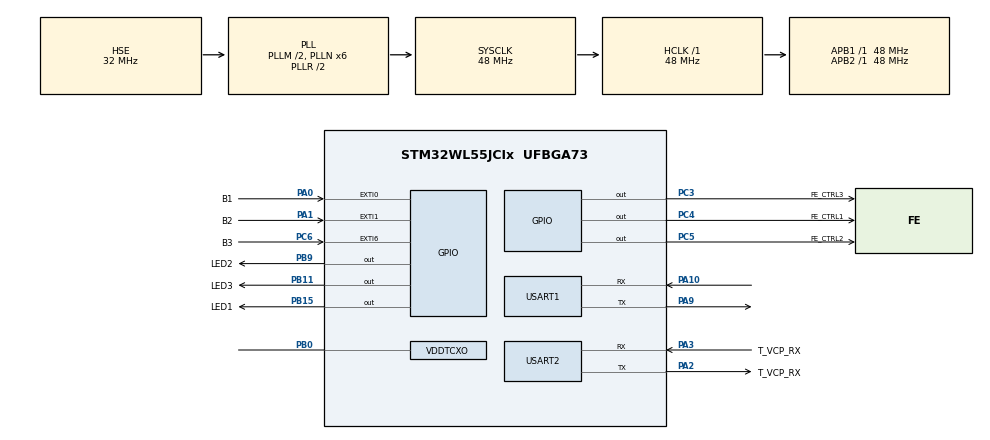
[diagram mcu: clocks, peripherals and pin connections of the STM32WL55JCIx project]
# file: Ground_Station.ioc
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Dma.Request0=USART2_RX
Dma.Request1=USART2_TX
Dma.USART2_RX.0.Channel_PRIV_NPRIV=DMA_CHANNEL_NPRIV_DISABLE
Dma.USART2_RX.0.Direction=DMA_PERIPH_TO_MEMORY
Dma.USART2_RX.0.EventEnable=DISABLE
Dma.USART2_RX.0.Instance=DMA1_Channel1
Dma.USART2_RX.0.MemDataAlignment=DMA_MDATAALIGN_BYTE
Dma.USART2_RX.0.MemInc=DMA_MINC_ENABLE
Dma.USART2_RX.0.Mode=DMA_NORMAL
Dma.USART2_RX.0.PeriphDataAlignment=DMA_PDATAALIGN_BYTE
Dma.USART2_RX.0.PeriphInc=DMA_PINC_DISABLE
Dma.USART2_RX.0.Polarity=HAL_DMAMUX_REQ_GEN_RISING
Dma.USART2_RX.0.Priority=DMA_PRIORITY_LOW
Dma.USART2_RX.0.RequestNumber=1
Dma.USART2_RX.0.SignalID=NONE
Dma.USART2_RX.0.SyncEnable=DISABLE
Dma.USART2_RX.0.SyncPolarity=HAL_DMAMUX_SYNC_NO_EVENT
Dma.USART2_RX.0.SyncRequestNumber=1
Dma.USART2_RX.0.SyncSignalID=NONE
Dma.USART2_TX.1.Channel_PRIV_NPRIV=DMA_CHANNEL_NPRIV_DISABLE
Dma.USART2_TX.1.Direction=DMA_MEMORY_TO_PERIPH
Dma.USART2_TX.1.EventEnable=DISABLE
Dma.USART2_TX.1.Instance=DMA1_Channel2
Dma.USART2_TX.1.MemDataAlignment=DMA_MDATAALIGN_BYTE
Dma.USART2_TX.1.MemInc=DMA_MINC_ENABLE
Dma.USART2_TX.1.Mode=DMA_NORMAL
Dma.USART2_TX.1.PeriphDataAlignment=DMA_PDATAALIGN_BYTE
Dma.USART2_TX.1.PeriphInc=DMA_PINC_DISABLE
Dma.USART2_TX.1.Polarity=HAL_DMAMUX_REQ_GEN_RISING
Dma.USART2_TX.1.Priority=DMA_PRIORITY_LOW
Dma.USART2_TX.1.RequestNumber=1
Dma.USART2_TX.1.SignalID=NONE
Dma.USART2_TX.1.SyncEnable=DISABLE
Dma.USART2_TX.1.SyncPolarity=HAL_DMAMUX_SYNC_NO_EVENT
Dma.USART2_TX.1.SyncRequestNumber=1
Dma.USART2_TX.1.SyncSignalID=NONE
Mcu.Family=STM32WL
Mcu.Name=STM32WL55JCIx
Mcu.Package=UFBGA73
NVIC.DMA1_Channel1_IRQn=true\:0\:0\:false\:false\:true\:false\:true\:true
NVIC.DMA1_Channel2_IRQn=true\:0\:0\:false\:false\:true\:false\:true\:true
NVIC.PriorityGroup=NVIC_PRIORITYGROUP_4
NVIC.SUBGHZ_Radio_IRQn=true\:0\:0\:false\:false\:true\:true\:true\:true
NVIC.TIM2_IRQn=true\:0\:0\:false\:false\:true\:true\:true\:true
NVIC.USART1_IRQn=true\:0\:0\:false\:false\:true\:true\:true\:true
NVIC.USART2_IRQn=true\:0\:0\:false\:false\:true\:true\:true\:true
OSC_IN.Mode=HSE-TCXO
OSC_IN.Signal=RCC_OSC_IN
PA0.GPIO_Label=B1
PA0.GPIO_ModeDefaultEXTI=GPIO_MODE_IT_FALLING
PA0.GPIO_PuPd=GPIO_PULLUP
PA0.Signal=GPXTI0
PA1.GPIO_Label=B2
PA1.GPIO_ModeDefaultEXTI=GPIO_MODE_IT_FALLING
PA1.GPIO_PuPd=GPIO_PULLUP
PA1.Signal=GPXTI1
PA10.Mode=Asynchronous
PA10.Signal=USART1_RX
PA13.Mode=Serial_Wire
PA13.Signal=DEBUG_JTMS-SWDIO
PA14.Mode=Serial_Wire
PA14.Signal=DEBUG_JTCK-SWCLK
PA2.GPIO_Label=T_VCP_RX
PA2.Mode=Asynchronous
PA2.Signal=USART2_TX
PA3.GPIO_Label=T_VCP_RX
PA3.Mode=Asynchronous
PA3.Signal=USART2_RX
PA9.Mode=Asynchronous
PA9.Signal=USART1_TX
PB0-VDD_TCXO.Mode=HSE-TCXO
PB0-VDD_TCXO.Signal=VDDTCXO
PB11.GPIO_Label=LED3
PB11.GPIO_Speed=GPIO_SPEED_FREQ_HIGH
PB11.Signal=GPIO_Output
PB15.GPIO_Label=LED1
PB15.GPIO_Speed=GPIO_SPEED_FREQ_HIGH
PB15.Signal=GPIO_Output
PB9.GPIO_FM9=__NULL
PB9.GPIO_Label=LED2
PB9.GPIO_Speed=GPIO_SPEED_FREQ_HIGH
PB9.Signal=GPIO_Output
PC14-OSC32_IN.Signal=RCC_OSC32_IN
PC15-OSC32_OUT.Signal=RCC_OSC32_OUT
PC3.GPIO_Label=FE_CTRL3
PC3.GPIO_Speed=GPIO_SPEED_FREQ_VERY_HIGH
PC3.Signal=GPIO_Output
PC4.GPIO_Label=FE_CTRL1
PC4.GPIO_Speed=GPIO_SPEED_FREQ_VERY_HIGH
PC4.Signal=GPIO_Output
PC5.GPIO_Label=FE_CTRL2
PC5.GPIO_Speed=GPIO_SPEED_FREQ_VERY_HIGH
PC5.Signal=GPIO_Output
PC6.GPIO_Label=B3
PC6.GPIO_ModeDefaultEXTI=GPIO_MODE_IT_FALLING
PC6.GPIO_PuPd=GPIO_PULLUP
PC6.Signal=GPXTI6
ProjectManager.HeapSize=0x200
ProjectManager.StackSize=0x400
ProjectManager.TargetToolchain=STM32CubeIDE
RCC.AHBFreq_Value=48000000
RCC.APB1Freq_Value=48000000
RCC.APB1TimFreq_Value=48000000
RCC.APB2Freq_Value=48000000
RCC.APB2TimFreq_Value=48000000
RCC.APB3Freq_Value=48000000
RCC.CortexFreq_Value=48000000
RCC.HCLKFreq_Value=48000000
RCC.HSE_VALUE=32000000
RCC.HSI_VALUE=16000000
RCC.LSE_VALUE=32768
RCC.PLLM=RCC_PLLM_DIV2
RCC.PLLN=6
RCC.PLLSourceVirtual=RCC_PLLSOURCE_HSE
RCC.SYSCLKFreq_VALUE=48000000
RCC.SYSCLKSource=RCC_SYSCLKSOURCE_PLLCLK
RCC.VCOOutputFreq_Value=96000000
TIM2.Period=1000001-1
TIM2.Prescaler=48-1
USART1.VirtualMode-Asynchronous=VM_ASYNC
USART2.VirtualMode-Asynchronous=VM_ASYNC
VP_ADV_TRACE_VS_ADV_TRACE.Mode=ADV_TRACE_Enabled
VP_MISC_VS_MISC.Mode=MISC_Enabled
VP_SEQUENCER_M4_VS_SEQUENCER.Mode=SEQUENCER_Enabled
VP_SUBGHZ_PHY_VS_SubGhzPhy.Mode=SubGhzPhy_Enabled
VP_SUBGHZ_VS_SUBGHZ.Mode=SUBGHZ_Activate
VP_TIM2_VS_ClockSourceINT.Mode=Internal
VP_TIMER_VS_TIMER.Mode=TIMER_Enabled
VP_TINY_LPM_VS_TINY_LPM.Mode=TINY_LPM_Enabled
board=NUCLEO-WL55JC2

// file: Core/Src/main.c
/* USER CODE BEGIN Header */
/**
 ******************************************************************************
 * @file           : main.c
 * @brief          : Main program body
 ******************************************************************************
 * @attention
 *
 * Copyright (c) 2024 STMicroelectronics.
 * All rights reserved.
 *
 * This software is licensed under terms that can be found in the LICENSE file
 * in the root directory of this software component.
 * If no LICENSE file comes with this software, it is provided AS-IS.
 *
 ******************************************************************************
 */
/* USER CODE END Header */
#include "main.h"
#include "dma.h"
#include "app_subghz_phy.h"
#include "tim.h"
#include "usart.h"
#include "gpio.h"

/* USER CODE BEGIN Includes */
#include "radio_driver.h"
#include "com_debug.h"
#include "ax25_packet.h"
#include "digipeater_generator.h"
#include "error_handler.h"
/* USER CODE END Includes */

/* USER CODE BEGIN PM */

#define GS_CMD_LENGTH			(20) // source call sign 7, 13 bytes command

#define MAIN_CMD_LENGTH			(13)  //  main 13 bytes command
#define RX_PAYLOAD_LENGTH 		(105) //  maximum data receiving capacity from radio

#define MAIN_CMD_LENGTH_TEMP	(38)  //  main 38 bytes command ASCII

#define CMD_LENGTH_TEMP			(52)  //  main 39 bytes command received from UART2

#define FREQ_435_MHZ            (435313000) //UP-LINK
#define FREQ_437_MHZ			(437375000)	//DOWN-LINK

#define PA_DUTY_CYCLE           (0x07)
#define HP_MAX                  (0x00)
#define PA_SEL                  (0x01)

#define POWER                   (0x0E)
#define RAMP_TIME               (0x02)

#define GFSK_BR_1200            1200
#define GFSK_FDEV_1200          3000

#define GFSK_BR_4800            4800
#define GFSK_FDEV_4800          12000
/* USER CODE END PM */

/* USER CODE BEGIN PV */
PacketParams_t pkt_params;
ModulationParams_t mod_params;

uint8_t gs_cmd_len = GS_CMD_LENGTH;
uint8_t gs_cmd[GS_CMD_LENGTH];

uint8_t cmd_temp_len = CMD_LENGTH_TEMP;
uint8_t cmd_temp[CMD_LENGTH_TEMP];

uint8_t main_cmd_temp_len = MAIN_CMD_LENGTH_TEMP;
uint8_t main_cmd_temp[MAIN_CMD_LENGTH_TEMP];

uint8_t main_cmd_len = MAIN_CMD_LENGTH;
uint8_t main_cmd[MAIN_CMD_LENGTH];

uint8_t temp_tx_buffer[100];
int tx_buffer_len = 0;
uint8_t tx_buffer[100];

uint8_t temp_tx_dp_buffer[150];

uint8_t rx_buffer_len = RX_PAYLOAD_LENGTH;
uint8_t rx_buffer[RX_PAYLOAD_LENGTH];

int TX_FLAG = 0;
int rssi_value = 0;
int checksum_error_count = 0;

/* USER CODE END PV */

void SystemClock_Config(void);
/* USER CODE BEGIN PFP */
void setPacketParams(uint8_t buffer_length);
void setModulationParams(unsigned long bitRate, unsigned long fDev);
void radioConfig(uint8_t *buffer, uint8_t buffer_len);
void DioIrqHndlr(RadioIrqMasks_t radioIrq);
void HAL_UART_RxCpltCallback(UART_HandleTypeDef *huart);
/* USER CODE END PFP */

/* USER CODE BEGIN 0 */

void setPacketParams(uint8_t buffer_length) {
	pkt_params.PacketType = PACKET_TYPE_GFSK;
	pkt_params.Params.Gfsk.PayloadLength = buffer_length;
	pkt_params.Params.Gfsk.PreambleLength = 8;
	pkt_params.Params.Gfsk.PreambleMinDetect = RADIO_PREAMBLE_DETECTOR_08_BITS;
	pkt_params.Params.Gfsk.SyncWordLength = 3 << 3;
	pkt_params.Params.Gfsk.AddrComp = RADIO_ADDRESSCOMP_FILT_OFF;
	pkt_params.Params.Gfsk.HeaderType = RADIO_PACKET_FIXED_LENGTH;
	pkt_params.Params.Gfsk.CrcLength = RADIO_CRC_2_BYTES_CCIT;
	pkt_params.Params.Gfsk.DcFree = RADIO_DC_FREEWHITENING;
	SUBGRF_SetPacketParams(&pkt_params);

}
void setModulationParams(unsigned long bitRate, unsigned long fDev) {
	mod_params.PacketType = PACKET_TYPE_GFSK;
	mod_params.Params.Gfsk.Bandwidth = RX_BW_29300;
	mod_params.Params.Gfsk.BitRate = bitRate;
	mod_params.Params.Gfsk.Fdev = fDev;
	mod_params.Params.Gfsk.ModulationShaping = MOD_SHAPING_G_BT_1;
	SUBGRF_SetModulationParams(&mod_params);

}

void radioConfig(uint8_t *buffer, uint8_t buffer_len) {
	SUBGRF_SetBufferBaseAddress(0x00, 0x00);
	SUBGRF_SetPayload(buffer, buffer_len);
	SUBGRF_SetSyncWord(( uint8_t[] ) { 0xC1, 0x94, 0xC1, 0x00, 0x00, 0x00, 0x00,
					0x00 });
	SUBGRF_SetWhiteningSeed(0x01FF);
	SUBGRF_SetPaConfig(PA_DUTY_CYCLE, HP_MAX, PA_SEL, 0x01);
	SUBGRF_SetTxParams(RFO_LP, POWER, RAMP_TIME);

}

void HAL_UART_RxCpltCallback(UART_HandleTypeDef *huart) {
	if (huart == &huart2) {

		uint8_t newLine = 0x0a;

		uint8_t header = 0x00;

		if (cmd_temp[0] == header || cmd_temp[0] == newLine) {

			for (int loop1 = 0; loop1 < sizeof(cmd_temp); loop1++) {
				cmd_temp[loop1] = cmd_temp[loop1 + 1];
			}
		}

		if (cmd_temp[0] == 0x4d && cmd_temp[1] == 0x4f &&     	//MO
				cmd_temp[2] == 0x44 && cmd_temp[3] == 0x45 &&  	// DE
				cmd_temp[4] == 0x54 && cmd_temp[5] == 0x45 &&  	 //TE
				cmd_temp[6] == 0x4c && cmd_temp[7] == 0x45) {			//LE

			TX_FLAG = 0;

			setPacketParams(rx_buffer_len);
			setModulationParams(GFSK_BR_4800, GFSK_FDEV_4800);
			radioConfig(rx_buffer, rx_buffer_len);

			myDebug("\n########## RX Configuration: ##########\n");

			myDebug("FREQUENCY MODS: Downlink FREQ: %lu Hz\r\n", FREQ_437_MHZ);
			myDebug("Bit Rate: 	%d\n\r", mod_params.Params.Gfsk.BitRate);
			myDebug("Frequency Deviation: 	%d\n\r",
					mod_params.Params.Gfsk.Fdev);
			myDebug("RECEVING BANDWIDTH: 	%d\n\r",
					mod_params.Params.Gfsk.Bandwidth);
			myDebug("Packet Type 			%d\n\r", pkt_params.PacketType);
			myDebug("PayloadLength 			%d\n\r",
					pkt_params.Params.Gfsk.PayloadLength);
			myDebug("PreambleLength 		%d\n\r",
					pkt_params.Params.Gfsk.PreambleLength);
			myDebug("PreambleMinDetect		%d\n\r",
					pkt_params.Params.Gfsk.PreambleMinDetect);
			myDebug("HeaderType 			%d\n\r", pkt_params.Params.Gfsk.HeaderType);
			myDebug("______________*******************______________\r\n");

			SUBGRF_SetRfFrequency(FREQ_437_MHZ);
			SUBGRF_SetSwitch(RFO_LP, RFSWITCH_RX);
			SUBGRF_SetRxBoosted(0xFFFFFF);

			HAL_UART_Receive_DMA(&huart2, cmd_temp, cmd_temp_len);

		} else if (cmd_temp[0] == 0x4d && cmd_temp[1] == 0x4f &&     //MO
				cmd_temp[2] == 0x44 && cmd_temp[3] == 0x45 &&  	// DE
				cmd_temp[4] == 0x44 && cmd_temp[5] == 0x49 &&   //DI
				cmd_temp[6] == 0x47 && cmd_temp[7] == 0x49) {		//GI

			TX_FLAG = 0;

			setPacketParams(rx_buffer_len);
			setModulationParams(GFSK_BR_1200, GFSK_FDEV_1200);
			radioConfig(rx_buffer, rx_buffer_len);

			myDebug("\n########## RX Configuration: ##########\n");

			myDebug("FREQUENCY MODS: Downlink FREQ: %lu Hz\r\n", FREQ_437_MHZ);
			myDebug("Bit Rate: 	%d\n\r", mod_params.Params.Gfsk.BitRate);
			myDebug("Frequency Deviation: 	%d\n\r",
					mod_params.Params.Gfsk.Fdev);
			myDebug("RECEVING BANDWIDTH: 	%d\n\r",
					mod_params.Params.Gfsk.Bandwidth);
			myDebug("Packet Type 			%d\n\r", pkt_params.PacketType);
			myDebug("PayloadLength 			%d\n\r",
					pkt_params.Params.Gfsk.PayloadLength);
			myDebug("PreambleLength 		%d\n\r",
					pkt_params.Params.Gfsk.PreambleLength);
			myDebug("PreambleMinDetect		%d\n\r",
					pkt_params.Params.Gfsk.PreambleMinDetect);
			myDebug("HeaderType 			%d\n\r", pkt_params.Params.Gfsk.HeaderType);
			myDebug("______________*******************______________\r\n");

			SUBGRF_SetRfFrequency(FREQ_437_MHZ);
			SUBGRF_SetSwitch(RFO_LP, RFSWITCH_RX);
			SUBGRF_SetRxBoosted(0xFFFFFF);

			HAL_UART_Receive_DMA(&huart2, cmd_temp, cmd_temp_len);

		} else if (cmd_temp[0] == 0x53 && cmd_temp[1] == 0x32
				&& cmd_temp[2] == 0x53) {								 //S2S

			TX_FLAG = 0;

			// Section 1: dp_head (first 3 bytes)
			unsigned char dp_head[4];
			strncpy((char*) dp_head, (char*) cmd_temp, 3);
			dp_head[3] = '\0'; // Null-terminate the string

			// Section 2: destination_callsign (from byte 4 to the byte before '>' or 0x3e)
			unsigned char *dest_end = (unsigned char*) strchr(
					(char*) cmd_temp + 3, 0x3e); // Find the '>' (0x3e)
			int dest_size = dest_end - (cmd_temp + 3); // Get the size excluding '>'
			// Ensure the destination_callsign is exactly 7 bytes
			unsigned char destination_callsign[8]; // Array size of 8 to include 7 bytes plus null terminator
			// Copy the actual destination_callsign data
			strncpy((char*) destination_callsign, (char*) cmd_temp + 3,
					dest_size);
			// Shift each element of destination_callsign by 1 bit to the left
			for (int i = 0; i < dest_size; i++) {
				destination_callsign[i] <<= 1;  // Perform left shift by 1 bit
			}
			// If dest_size is less than 7, pad with 0x40 until it reaches 6 bytes, then set the last byte to 0xe0
			if (dest_size < 7) {
				for (int i = dest_size; i < 7; i++) {
					destination_callsign[i] = 0x40;  // Padding with 0x40
				}
				destination_callsign[6] = 0xE0;  // Set the last byte to 0xe0
			}
			destination_callsign[7] = '\0'; // Null-terminate (not strictly necessary for binary data, but good practice)

			// Section 3: source_callsign (from '>' to the byte before ',' or 0x2C)
			unsigned char *src_start = dest_end + 1; // Start after '>'
			unsigned char *src_end = (unsigned char*) strchr((char*) src_start,
					0x2C); // Find the ',' (0x2c)
			int src_size = src_end - src_start; // Get the size
			// Ensure the source_callsign is exactly 7 bytes
			unsigned char source_callsign[8]; // Array size of 8 to include 7 bytes plus null terminator
			// Copy the actual source_callsign data
			strncpy((char*) source_callsign, (const char*) src_start, src_size);
			// Shift each element of source_callsign by 1 bit to the left
			for (int i = 0; i < src_size; i++) {
				source_callsign[i] <<= 1;  // Perform left shift by 1 bit
			}
			// If src_size is less than 7, pad with 0x40 until it reaches 6 bytes, then set the last byte to 0xe0
			if (src_size < 7) {
				for (int i = src_size; i < 7; i++) {
					source_callsign[i] = 0x40;  // Padding with 0x40
				}
				source_callsign[6] = 0xE0;  // Set the last byte to 0xe0
			}
			source_callsign[7] = '\0'; // Null-terminate (optional for binary data)

			// Section 4: packet_path (from ',' to the byte before ':' or 0x3A)
			unsigned char *path_start = src_end + 1; // Start after ','
			unsigned char *path_end = (unsigned char*) strchr(
					(char*) path_start, 0x3A); // Find the ':' (0x3a)
			int path_size = path_end - path_start; // Get the size
			unsigned char packet_path[path_size + 1];
			strncpy((char*) packet_path, (const char*) path_start, path_size);
			packet_path[path_size] = '\0'; // Null-terminate

			// Section 5: message_field (from ':' to before '20 37 65')
			unsigned char *msg_start = path_end + 1; // Start after ':'
			unsigned char *msg_end = (unsigned char*) strstr((char*) msg_start,
					"\x20\x37\x65"); // Find '20 37 65'
			int msg_size = msg_end - msg_start; // Get the size before '20 37 65'
			unsigned char message_field[msg_size + 1];
			strncpy((char*) message_field, (const char*) msg_start, msg_size);
			message_field[msg_size] = '\0'; // Null-terminate

			// Combine all sections into one array
			int total_size = 3 + 7 + 7 + 7 + msg_size; // Calculate total size
			uint8_t final_packet[total_size + 1]; // Add 1 for null termination (if needed for debug)
			int offset = 0;

			// Copy Section 1: dp_head
			memcpy(final_packet + offset, dp_head, 3);
			offset += 3;

			// Copy Section 2: destination_callsign
			memcpy(final_packet + offset, destination_callsign, 7);
			offset += 7;

			// Copy Section 3: source_callsign
			memcpy(final_packet + offset, source_callsign, 7);
			offset += 7;

			// Copy Section 4: packet_path
			memcpy(final_packet + offset, packet_path, 7);
			offset += 7;

			// Copy Section 5: message_field
			memcpy(final_packet + offset, message_field, msg_size);
			offset += msg_size;

			final_packet[total_size] = '\0'; // Null-terminate for safety (optional for binary data)

			// Print the entire final packet in hex format
			myDebug("Digipeater Packet receive from DP-Station:\n");
			for (int i = 0; i < total_size; i++) {
				myDebug("%02x ", final_packet[i]);
			}
			myDebug("\n");

			getDigipeaterPacket(final_packet, msg_size);

			tx_buffer_len = countsDataBetweenFlags(temp_tx_dp_buffer,
					sizeof(temp_tx_dp_buffer));

			memset(tx_buffer, '\0', tx_buffer_len);

//			myDebug("Digipeater Packet complete, ready to TX: 0x%x\r\n",
//					temp_tx_dp_buffer);
			for (int j = 0; j < tx_buffer_len; j++) {
				tx_buffer[j] = temp_tx_dp_buffer[j];
//				myDebug("%02x ", tx_buffer[j]);
			}
//			myDebug("\r\n");
//			myDebug("size of tx_buffer = %d\r\n", tx_buffer_len);

			memset(cmd_temp, '\0', sizeof(cmd_temp));
			memset(temp_tx_dp_buffer, '\0', sizeof(temp_tx_dp_buffer));

			delay_us(500000);

			setPacketParams(tx_buffer_len);
			setModulationParams(GFSK_BR_1200,
			GFSK_FDEV_1200);
			radioConfig(tx_buffer, tx_buffer_len);

			myDebug("\n########## Digipeater TX Configuration: ##########\n");

			myDebug("FREQUENCY MODS: DOWNLINK FREQ: %lu Hz\r\n",
			FREQ_437_MHZ);
			myDebug("Bit Rate: 	%d\n\r", mod_params.Params.Gfsk.BitRate);
			myDebug("Frequency Deviation: 	%d\n\r",
					mod_params.Params.Gfsk.Fdev);
			myDebug("RECEVING BANDWIDTH: 	%d\n\r",
					mod_params.Params.Gfsk.Bandwidth);
			myDebug("Packet Type 			%d\n\r", pkt_params.PacketType);
			myDebug("PayloadLength 			%d\n\r",
					pkt_params.Params.Gfsk.PayloadLength);
			myDebug("PreambleLength 		%d\n\r",
					pkt_params.Params.Gfsk.PreambleLength);
			myDebug("PreambleMinDetect		%d\n\r",
					pkt_params.Params.Gfsk.PreambleMinDetect);
			myDebug("HeaderType 			%d\n\r", pkt_params.Params.Gfsk.HeaderType);
			myDebug("__________*******************__________\r\n");

			SUBGRF_SetRfFrequency(FREQ_437_MHZ);
			SUBGRF_SetSwitch(RFO_LP, RFSWITCH_TX);
			SUBGRF_SendPayload(tx_buffer, tx_buffer_len, 0);

		} else {

			uint8_t source_call_sign_temp[13];
			int a = 0;
			for (int loop2 = 39; loop2 < 52; loop2++) {
				source_call_sign_temp[a] = cmd_temp[loop2];
//				myDebug("%02x ", source_call_sign_temp[a]);
				a++;
			}
//			myDebug("\r\n");

			int source_call_sign_len_temp = countsDataBeforeFirstSpace(
					source_call_sign_temp, sizeof(source_call_sign_temp));

			int source_call_sign_len = source_call_sign_len_temp;

//			myDebug("length of call sign %d\n", source_call_sign_len_temp);

			for (int j = 0; j < source_call_sign_len_temp; j++) {
				// Check if the current element is 0x2D
				if (source_call_sign_temp[j] == 0x2D) {
					--source_call_sign_len;
					continue; // Skip this element
				}
			}

			uint8_t source_call_sign[source_call_sign_len];

			int l = 0; // Index for source_call_sign array

			for (int j = 0; j < source_call_sign_len_temp; j++) {
				// Check if the current element is 0x2D
				if (source_call_sign_temp[j] == 0x2D) {
					continue; // Skip this element
				}

				// Copy the next valid element to source_call_sign[k]
				source_call_sign[l] = source_call_sign_temp[j] << 1;

//				myDebug("%02x ", source_call_sign[l]);

				l++;
			}
//			myDebug("\n");

			for (int loop2 = 0; loop2 < sizeof(main_cmd_temp); loop2++) {
				main_cmd_temp[loop2] = cmd_temp[loop2];
//				myDebug("%02x ", main_cmd_temp[loop2]);
			}

			int input_length = sizeof(main_cmd_temp) / sizeof(main_cmd_temp[0]);

			// Temporary array to store non-space characters
			uint8_t temp_chars[input_length];
			int temp_count = 0;

			// Filter out space characters (ASCII 0x20)
			for (int i = 0; i < input_length; i++) {
				if (main_cmd_temp[i] != 0x20) {
					temp_chars[temp_count++] = main_cmd_temp[i];
				}
			}

			// Calculate the number of bytes
			int byte_count = temp_count / 2;

			// Output byte array
			uint8_t byte_array[byte_count];

			// Convert pairs of characters to bytes
			for (int i = 0; i < byte_count; i++) {
				uint8_t high_nibble = acciiToHex(temp_chars[2 * i]);
				uint8_t low_nibble = acciiToHex(temp_chars[2 * i + 1]);

				byte_array[i] = (high_nibble << 4) | low_nibble;
			}

			myDebug("\n-->Main command Received: 0x%x\r\n", main_cmd);

			if (sizeof(byte_array) == main_cmd_len) {
				//			myDebug("-->Command ACK: 0x%x\r\n", main_cmd);
				for (int i = 0; i < main_cmd_len; i++) {
					main_cmd[i] = byte_array[i];
//					myDebug("%02x ", main_cmd[i]);
				}
//				myDebug("\r\n");

				int k = 0;
				for (int i = 0; i < main_cmd_len; i++) {
					gs_cmd[k] = main_cmd[i];
					myDebug("%02x ", gs_cmd[k]);
					k++;
				}
				myDebug("\n");

				for (int i = 0; i < source_call_sign_len; i++) {
					gs_cmd[k] = source_call_sign[i];
					myDebug("%02x ", gs_cmd[k]);
					k++;
				}
				myDebug("\n");

				// Check if k is less than 20, and fill remaining bytes
				if (k < 20) {
					// Fill the remaining bytes with 0x40
					for (int i = k; i < 19; i++) {
						gs_cmd[i] = 0x40;
					}

					// Set the last byte to 0x61
					gs_cmd[19] = 0x61;
				}

//				for (int i = 0; i < gs_cmd_len; i++) {
//					myDebug("%02x ", gs_cmd[i]);
//				}
//				myDebug("\r\n");

				TX_FLAG = 1;

			} else {
				myDebug("-->Command Not ACK: 0x%x\r\n", main_cmd);

				for (int i = 0; i < main_cmd_len; i++) {
					myDebug("%02x ", main_cmd[i]);
				}
				myDebug("\r\n");

				memset(main_cmd, '\0', main_cmd_len);
				TX_FLAG = 0;
			}
		}

	}
}

/* USER CODE END 0 */

int main(void) {

	/* MCU Configuration--------------------------------------------------------*/

	/* Reset of all peripherals, Initializes the Flash interface and the Systick. */
	HAL_Init();

	/* Configure the system clock */
	SystemClock_Config();

	/* Initialize all configured peripherals */
	MX_GPIO_Init();
	MX_DMA_Init();
	MX_USART2_UART_Init();
	MX_TIM2_Init();
	MX_SubGHz_Phy_Init();
	MX_USART1_UART_Init();
	/* USER CODE BEGIN 2 */

	HAL_TIM_Base_Start(&htim2);

	SUBGRF_Init(DioIrqHndlr);
	SUBGRF_SetDioIrqParams(
			IRQ_TX_DONE | IRQ_PREAMBLE_DETECTED | IRQ_RX_DONE
					| IRQ_RX_TX_TIMEOUT | IRQ_SYNCWORD_VALID,
			IRQ_TX_DONE | IRQ_PREAMBLE_DETECTED | IRQ_RX_DONE
					| IRQ_RX_TX_TIMEOUT | IRQ_SYNCWORD_VALID, IRQ_RADIO_NONE,
			IRQ_RADIO_NONE);

	myDebug("########## Slippers2Sat Ground Station: BEGIN ##########\r\n");
	myDebug("########## COMMUNICATION PARAMETERS ##########\r\n");
	myDebug("Modulation: GFSK PACKET\r\n");
	myDebug("FREQUENCY MODES: DOWNLINK FREQ: %luHz, UPLINK FREQ: %lu Hz\r\n",
	FREQ_437_MHZ, FREQ_435_MHZ);
	myDebug("STM32 BSP_SubGHz-WL Radio: Low Power\n");
	myDebug(
			"POWER CONFIG:::: \n"
					"\t PA_DUTY_CYCLE: %x, HP_MAX: %x, PA_SEL: %x, POWER TX: %u dBm\r\n",
			PA_DUTY_CYCLE, HP_MAX, PA_SEL, POWER);

	myDebug(
			"\n########## Operation Starts, Perform any one operation: ##########\r\n");
	myDebug("1. Transmit Command of 13 bytes\r\n");
	myDebug("2. Wait to receive beacon from Satellite\r\n");

	setPacketParams(rx_buffer_len);
	setModulationParams(GFSK_BR_4800, GFSK_FDEV_4800);
	radioConfig(rx_buffer, rx_buffer_len);

	myDebug("\n########## RX Configuration: ##########\n");

	myDebug("FREQUENCY MODS: Downlink FREQ: %lu Hz\r\n", FREQ_437_MHZ);
	myDebug("Bit Rate: 	%d\n\r", mod_params.Params.Gfsk.BitRate);
	myDebug("Frequency Deviation: 	%d\n\r", mod_params.Params.Gfsk.Fdev);
	myDebug("RECEVING BANDWIDTH: 	%d\n\r", mod_params.Params.Gfsk.Bandwidth);
	myDebug("Packet Type 			%d\n\r", pkt_params.PacketType);
	myDebug("PayloadLength 			%d\n\r", pkt_params.Params.Gfsk.PayloadLength);
	myDebug("PreambleLength 		%d\n\r", pkt_params.Params.Gfsk.PreambleLength);
	myDebug("PreambleMinDetect		%d\n\r",
			pkt_params.Params.Gfsk.PreambleMinDetect);
	myDebug("HeaderType 			%d\n\r", pkt_params.Params.Gfsk.HeaderType);
	myDebug("______________*******************______________\r\n");

	SUBGRF_SetRfFrequency(FREQ_437_MHZ);
	SUBGRF_SetSwitch(RFO_LP, RFSWITCH_RX);
	SUBGRF_SetRxBoosted(0xFFFFFF);

	HAL_UART_Receive_DMA(&huart2, cmd_temp, cmd_temp_len);

	/* USER CODE END 2 */

	/* Infinite loop */
	while (1) {
		MX_SubGHz_Phy_Process();

		/* USER CODE BEGIN 3 */

		delay_us(500000);

		if (TX_FLAG) {

			getAX25Packet(gs_cmd, gs_cmd_len);

			tx_buffer_len = countsDataFromLastFlag(temp_tx_buffer,
					sizeof(temp_tx_buffer));

//			myDebug("AX.25 complete GS packet ready to TX: 0x%x\r\n", temp_tx_buffer);
			for (int j = 0; j < tx_buffer_len; j++) {
				tx_buffer[j] = temp_tx_buffer[j];
//				myDebug("%02x ", tx_buffer[j]);
			}
//			myDebug("\r\n");

//			myDebug("size of tx_buffer = %d\r\n", tx_buffer_len);

			memset(main_cmd, '\0', main_cmd_len);
			memset(gs_cmd, '\0', gs_cmd_len);
			memset(temp_tx_buffer, '\0', sizeof(temp_tx_buffer));

			setPacketParams(tx_buffer_len);
			setModulationParams(GFSK_BR_1200, GFSK_FDEV_1200);
			radioConfig(tx_buffer, tx_buffer_len);

			myDebug("########## TX Configuration: ##########\n");

			myDebug("FREQUENCY MODS: UPLINK FREQ: %lu Hz\r\n", FREQ_435_MHZ);
			myDebug("Bit Rate: 	%d\n\r", mod_params.Params.Gfsk.BitRate);
			myDebug("Frequency Deviation: 	%d\n\r",
					mod_params.Params.Gfsk.Fdev);
			myDebug("RECEVING BANDWIDTH: 	%d\n\r",
					mod_params.Params.Gfsk.Bandwidth);
			myDebug("Packet Type 			%d\n\r", pkt_params.PacketType);
			myDebug("PayloadLength 			%d\n\r",
					pkt_params.Params.Gfsk.PayloadLength);
			myDebug("PreambleLength 		%d\n\r",
					pkt_params.Params.Gfsk.PreambleLength);
			myDebug("PreambleMinDetect		%d\n\r",
					pkt_params.Params.Gfsk.PreambleMinDetect);
			myDebug("HeaderType 			%d\n\r", pkt_params.Params.Gfsk.HeaderType);
			myDebug("______________*******************______________\r\n");

			SUBGRF_SetRfFrequency(FREQ_435_MHZ);
			SUBGRF_SetSwitch(RFO_LP, RFSWITCH_TX);
			SUBGRF_SendPayload(tx_buffer, tx_buffer_len, 0);
		}

		HAL_UART_Receive_DMA(&huart2, cmd_temp, cmd_temp_len);

	}
	/* USER CODE END 3 */
}

void SystemClock_Config(void) {
	RCC_OscInitTypeDef RCC_OscInitStruct = { 0 };
	RCC_ClkInitTypeDef RCC_ClkInitStruct = { 0 };

	/** Configure the main internal regulator output voltage
	 */
	__HAL_PWR_VOLTAGESCALING_CONFIG(PWR_REGULATOR_VOLTAGE_SCALE1);

	/** Initializes the CPU, AHB and APB buses clocks
	 */
	RCC_OscInitStruct.OscillatorType = RCC_OSCILLATORTYPE_HSE;
	RCC_OscInitStruct.HSEState = RCC_HSE_BYPASS_PWR;
	RCC_OscInitStruct.HSEDiv = RCC_HSE_DIV1;
	RCC_OscInitStruct.PLL.PLLState = RCC_PLL_ON;
	RCC_OscInitStruct.PLL.PLLSource = RCC_PLLSOURCE_HSE;
	RCC_OscInitStruct.PLL.PLLM = RCC_PLLM_DIV2;
	RCC_OscInitStruct.PLL.PLLN = 6;
	RCC_OscInitStruct.PLL.PLLP = RCC_PLLP_DIV2;
	RCC_OscInitStruct.PLL.PLLR = RCC_PLLR_DIV2;
	RCC_OscInitStruct.PLL.PLLQ = RCC_PLLQ_DIV2;
	if (HAL_RCC_OscConfig(&RCC_OscInitStruct) != HAL_OK) {
		Error_Handler();
	}

	/** Configure the SYSCLKSource, HCLK, PCLK1 and PCLK2 clocks dividers
	 */
	RCC_ClkInitStruct.ClockType = RCC_CLOCKTYPE_HCLK3 | RCC_CLOCKTYPE_HCLK
			| RCC_CLOCKTYPE_SYSCLK | RCC_CLOCKTYPE_PCLK1 | RCC_CLOCKTYPE_PCLK2;
	RCC_ClkInitStruct.SYSCLKSource = RCC_SYSCLKSOURCE_PLLCLK;
	RCC_ClkInitStruct.AHBCLKDivider = RCC_SYSCLK_DIV1;
	RCC_ClkInitStruct.APB1CLKDivider = RCC_HCLK_DIV1;
	RCC_ClkInitStruct.APB2CLKDivider = RCC_HCLK_DIV1;
	RCC_ClkInitStruct.AHBCLK3Divider = RCC_SYSCLK_DIV1;

	if (HAL_RCC_ClockConfig(&RCC_ClkInitStruct, FLASH_LATENCY_2) != HAL_OK) {
		Error_Handler();
	}
}

/* USER CODE BEGIN 4 */
void DioIrqHndlr(RadioIrqMasks_t radioIrq) {
	if (radioIrq == IRQ_TX_DONE) {
		TX_FLAG = 0;
		myDebug("\nGS Command Transmitted Successful, Length: %d\r\n",
				tx_buffer_len);
		for (int i = 0; i < tx_buffer_len; i++) {
			myDebug("%02x ", tx_buffer[i]);
		}

		myDebug("\r\n");
		memset(tx_buffer, '\0', sizeof(tx_buffer));

		setPacketParams(rx_buffer_len);
		setModulationParams(GFSK_BR_4800, GFSK_FDEV_4800);
		radioConfig(rx_buffer, rx_buffer_len);

		myDebug("\n########## RX Configuration: ##########\n");

		myDebug("FREQUENCY MODS: Downlink FREQ: %lu Hz\r\n", FREQ_437_MHZ);
		myDebug("Bit Rate: 	%d\n\r", mod_params.Params.Gfsk.BitRate);
		myDebug("Frequency Deviation: 	%d\n\r", mod_params.Params.Gfsk.Fdev);
		myDebug("RECEVING BANDWIDTH: 	%d\n\r",
				mod_params.Params.Gfsk.Bandwidth);
		myDebug("Packet Type 			%d\n\r", pkt_params.PacketType);
		myDebug("PayloadLength 			%d\n\r",
				pkt_params.Params.Gfsk.PayloadLength);
		myDebug("PreambleLength 		%d\n\r",
				pkt_params.Params.Gfsk.PreambleLength);
		myDebug("PreambleMinDetect		%d\n\r",
				pkt_params.Params.Gfsk.PreambleMinDetect);
		myDebug("HeaderType 			%d\n\r", pkt_params.Params.Gfsk.HeaderType);
		myDebug("______________*******************______________\r\n");

		SUBGRF_SetRfFrequency(FREQ_437_MHZ);
		SUBGRF_SetSwitch(RFO_LP, RFSWITCH_RX);
		SUBGRF_SetRxBoosted(0xFFFFFF);

		HAL_UART_Receive_DMA(&huart2, cmd_temp, cmd_temp_len);

	}

	if (radioIrq == IRQ_RX_DONE) {
		TX_FLAG = 0;
		memset(rx_buffer, '\0', sizeof(rx_buffer));
		SUBGRF_GetPayload(rx_buffer, &rx_buffer_len, RX_PAYLOAD_LENGTH);
		rssi_value = SUBGRF_GetRssiInst();

		uint8_t temp_rx_buffer_len = 0;
		temp_rx_buffer_len = countsDataFromLastFlag(rx_buffer, rx_buffer_len);

		if (temp_rx_buffer_len != -1) {

//			myDebug("\nSatellite Data Received, Length: %d and RSSI: %d dBm\r\n", temp_rx_buffer_len, rssi_value);

			uint8_t temp_check_buff[temp_rx_buffer_len];
			for (int i = 0; i < temp_rx_buffer_len; i++) {
				temp_check_buff[i] = rx_buffer[i];
//				myDebug("%02x ", temp_check_buff[i]);
			}
//			myDebug("\r\n");

//			memset(rx_buffer, '\0', sizeof(rx_buffer_len));

			uint8_t crc_buff_len = temp_rx_buffer_len - 4;
			uint8_t crc_buff[crc_buff_len];

//			myDebug("\nSatellite Data Testing: 0x%x\r\n");

			int j = 0;
			for (int i = 1; i <= crc_buff_len; i++) {
				crc_buff[j] = temp_check_buff[i];
//				myDebug("%02x ", crc_buff[j]);
				j++;
			}
//			myDebug("\r\n");

			uint16_t crc = 0;
			crc = calculateCRC_CCITT_AX25(crc_buff, crc_buff_len);

			uint8_t calc_crc[2];
			calc_crc[0] = (crc >> 8) & 0xFF;
			calc_crc[1] = crc & 0xFF;

			uint8_t msb_crc = temp_check_buff[temp_rx_buffer_len - 3];
			uint8_t lsb_crc = temp_check_buff[temp_rx_buffer_len - 2];

			if (calc_crc[0] == msb_crc && calc_crc[1] == lsb_crc) {
//				myDebug("Satellite Data checksum correct: 0x%x\r\n");

				uint8_t gs_cmd_buff[150];
				int gs_cmd_len = bit_destuffing(crc_buff, gs_cmd_buff,
						crc_buff_len);
//				gs_cmd_len--;

				myDebug(
						"\nSatellite Real Data, Length: %d bytes  and RSSI: %d dBm\r\n",
						gs_cmd_len, rssi_value);

				uint8_t main_gs_cmd[gs_cmd_len];
				for (int i = 0; i < gs_cmd_len; i++) {
					main_gs_cmd[i] = gs_cmd_buff[i];
					myDebug("%02x ", main_gs_cmd[i]);
				}

				HAL_UART_Transmit(&huart2, main_gs_cmd, sizeof(main_gs_cmd),
						2000);

				myDebug("\r\n");
				myDebug("__________\r\n");
				memset(main_gs_cmd, '\0', gs_cmd_len);

			} else {
				checksum_error_count++;
				myDebug(
						"Satellite Data checksum error and no of error packets: %d\r\n",
						checksum_error_count);
				for (int i = 0; i < sizeof(temp_check_buff); i++) {
					myDebug("%02x ", temp_check_buff[i]);
				}

				HAL_UART_Transmit(&huart2, temp_check_buff,
						sizeof(temp_check_buff), 2000);

				myDebug("\r\n");
				myDebug("__________\r\n");
				memset(rx_buffer, '\0', sizeof(rx_buffer_len));
				memset(crc_buff, '\0', sizeof(crc_buff));

			}
		} else {
			myDebug("Satellite Data not completely received, Length: %d \r\n",
					sizeof(rx_buffer));
			for (int i = 0; i < sizeof(rx_buffer); i++) {
				myDebug("%02x ", rx_buffer[i]);
			}

			HAL_UART_Transmit(&huart2, rx_buffer, sizeof(rx_buffer), 2000);

			myDebug("\r\n");
			myDebug("__________\r\n");
			memset(rx_buffer, '\0', sizeof(rx_buffer_len));
		}

		SUBGRF_SetRfFrequency(FREQ_437_MHZ);
		SUBGRF_SetSwitch(RFO_LP, RFSWITCH_RX);
		SUBGRF_SetRxBoosted(0xFFFFFF);

		HAL_UART_Receive_DMA(&huart2, cmd_temp, cmd_temp_len);
	}
}
/* USER CODE END 4 */

void Error_Handler(void) {
	__disable_irq();
	while (1) {
	}
}
